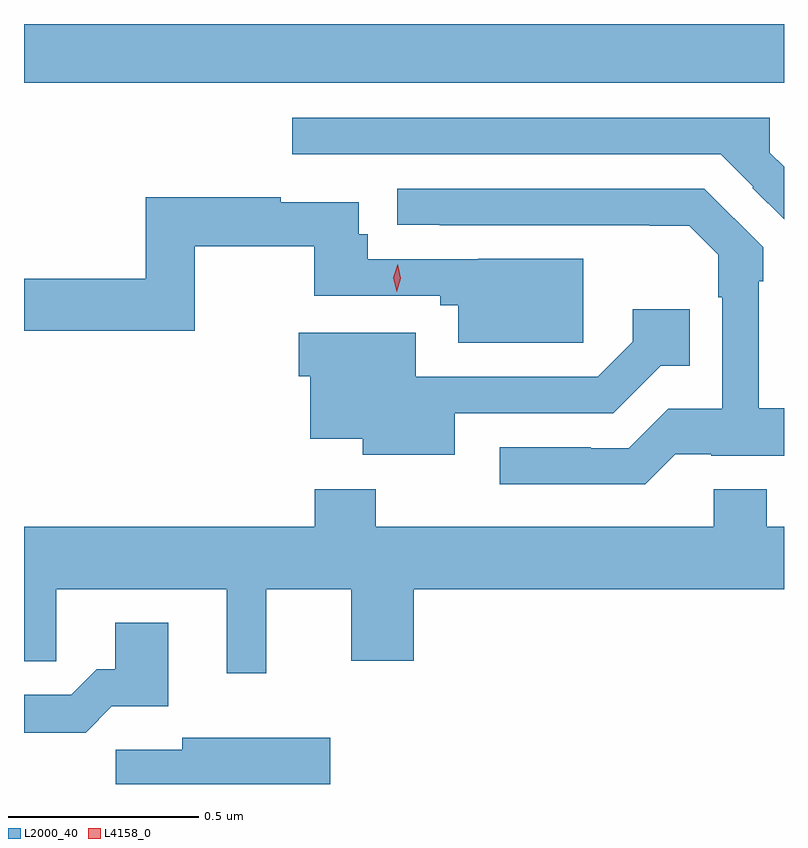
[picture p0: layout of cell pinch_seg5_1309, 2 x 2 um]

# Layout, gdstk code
import gdstk
lib = gdstk.Library(unit=1e-6, precision=1e-09)
def R(c, l, rs):  # rectangles x0, y0, x1, y1
    for r in rs: c.add(gdstk.rectangle(r[:2], r[2:], *l))
def P(c, l, *ps):  # polygons
    for p in ps: c.add(gdstk.Polygon(p, *l))
L2000_40 = (2000, 40)
L4158_0 = (4158, 0)

pinch_seg5_1309 = lib.new_cell('pinch_seg5_1309')
R(pinch_seg5_1309, L2000_40, [(475.835,858.092,477.835,858.247)])
P(pinch_seg5_1309, L2000_40, [(477.835,857.871),(477.798,857.908),(477.798,858),(476.541,858),(476.541,857.904),(477.669,857.904),(477.754,857.819),(477.751,857.816),(477.835,857.733)],
  [(477.549,857.115),(477.643,857.115),(477.643,857.111),(477.835,857.111),(477.835,857.236),(477.768,857.236),(477.768,857.57),(477.781,857.57),(477.781,857.659),(477.625,857.814),(476.817,857.814),(476.817,857.719),(476.929,857.719),(476.929,857.718),(477.482,857.718),(477.482,857.716),(477.586,857.716),(477.662,857.64),(477.662,857.528),(477.672,857.528),(477.672,857.235),(477.531,857.235),(477.426,857.13),(477.326,857.13),(477.326,857.133),(477.087,857.133),(477.087,857.036),(477.47,857.036)],
  [(477.307,857.629),(477.031,857.629),(477.031,857.628),(476.739,857.628),(476.739,857.694),(476.716,857.694),(476.716,857.778),(476.51,857.778),(476.51,857.791),(476.155,857.791),(476.155,857.576),(475.835,857.576),(475.835,857.44),(476.284,857.44),(476.284,857.662),(476.599,857.662),(476.599,857.532),(476.931,857.532),(476.931,857.507),(476.978,857.507),(476.978,857.408),(477.307,857.408)],
  [(476.968,857.223),(477.385,857.223),(477.51,857.348),(477.587,857.348),(477.587,857.497),(477.437,857.497),(477.437,857.411),(477.345,857.319),(476.866,857.319),(476.866,857.434),(476.558,857.434),(476.558,857.32),(476.588,857.32),(476.588,857.156),(476.726,857.156),(476.726,857.114),(476.968,857.114)],
  [(476.473,856.76),(476.696,856.76),(476.696,856.572),(476.86,856.572),(476.86,856.76),(477.835,856.76),(477.835,856.924),(477.79,856.924),(477.79,857.023),(477.65,857.023),(477.65,856.924),(476.76,856.924),(476.76,857.023),(476.6,857.023),(476.6,856.924),(475.835,856.924),(475.835,856.57),(475.92,856.57),(475.92,856.76),(476.369,856.76),(476.369,856.539),(476.473,856.539)],
  [(476.066,856.451),(476.215,856.451),(476.215,856.672),(476.075,856.672),(476.075,856.549),(476.026,856.549),(475.959,856.482),(475.835,856.482),(475.835,856.382),(475.997,856.382)],
  [(476.641,856.369),(476.252,856.369),(476.252,856.337),(476.076,856.337),(476.076,856.247),(476.641,856.247)])
P(pinch_seg5_1309, L4158_0, [(476.816,857.542),(476.816,857.543),(476.807,857.579),(476.818,857.615),(476.818,857.615),(476.818,857.615),(476.827,857.578),(476.816,857.543)])

lib.write_gds('pinch_seg5_1309.gds')
